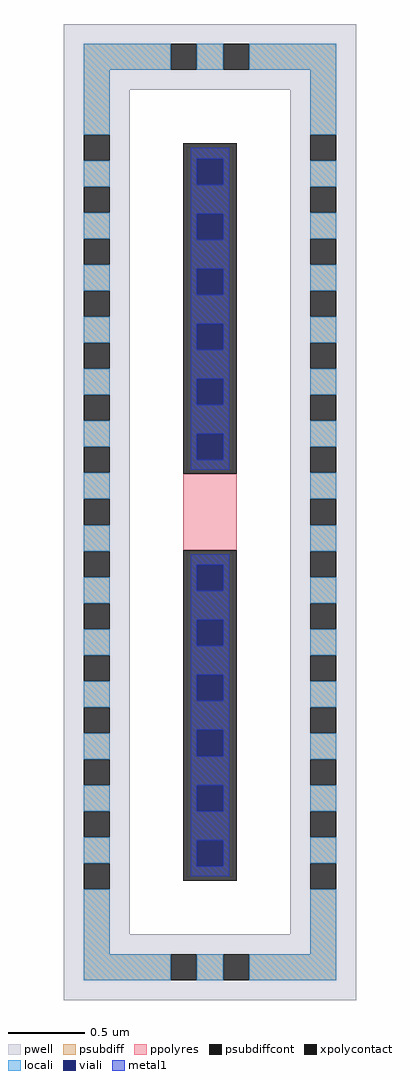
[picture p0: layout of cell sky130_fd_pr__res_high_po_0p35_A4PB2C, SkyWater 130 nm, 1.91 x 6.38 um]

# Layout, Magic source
magic
tech sky130A
magscale 1 2
<< pwell >>
rect -191 552 191 638
rect -191 -552 -105 552
rect 105 -552 191 552
rect -191 -638 191 -552
<< psubdiff >>
rect -165 578 -51 612
rect -17 578 17 612
rect 51 578 165 612
rect -165 493 -131 578
rect 131 493 165 578
rect -165 425 -131 459
rect -165 357 -131 391
rect -165 289 -131 323
rect -165 221 -131 255
rect -165 153 -131 187
rect -165 85 -131 119
rect -165 17 -131 51
rect -165 -51 -131 -17
rect -165 -119 -131 -85
rect -165 -187 -131 -153
rect -165 -255 -131 -221
rect -165 -323 -131 -289
rect -165 -391 -131 -357
rect -165 -459 -131 -425
rect 131 425 165 459
rect 131 357 165 391
rect 131 289 165 323
rect 131 221 165 255
rect 131 153 165 187
rect 131 85 165 119
rect 131 17 165 51
rect 131 -51 165 -17
rect 131 -119 165 -85
rect 131 -187 165 -153
rect 131 -255 165 -221
rect 131 -323 165 -289
rect 131 -391 165 -357
rect 131 -459 165 -425
rect -165 -578 -131 -493
rect 131 -578 165 -493
rect -165 -612 -51 -578
rect -17 -612 17 -578
rect 51 -612 165 -578
<< psubdiffcont >>
rect -51 578 -17 612
rect 17 578 51 612
rect -165 459 -131 493
rect -165 391 -131 425
rect -165 323 -131 357
rect -165 255 -131 289
rect -165 187 -131 221
rect -165 119 -131 153
rect -165 51 -131 85
rect -165 -17 -131 17
rect -165 -85 -131 -51
rect -165 -153 -131 -119
rect -165 -221 -131 -187
rect -165 -289 -131 -255
rect -165 -357 -131 -323
rect -165 -425 -131 -391
rect -165 -493 -131 -459
rect 131 459 165 493
rect 131 391 165 425
rect 131 323 165 357
rect 131 255 165 289
rect 131 187 165 221
rect 131 119 165 153
rect 131 51 165 85
rect 131 -17 165 17
rect 131 -85 165 -51
rect 131 -153 165 -119
rect 131 -221 165 -187
rect 131 -289 165 -255
rect 131 -357 165 -323
rect 131 -425 165 -391
rect 131 -493 165 -459
rect -51 -612 -17 -578
rect 17 -612 51 -578
<< xpolycontact >>
rect -35 50 35 482
rect -35 -482 35 -50
<< ppolyres >>
rect -35 -50 35 50
<< locali >>
rect -165 578 -51 612
rect -17 578 17 612
rect 51 578 165 612
rect -165 493 -131 578
rect 131 493 165 578
rect -165 425 -131 459
rect -165 357 -131 391
rect -165 289 -131 323
rect -165 221 -131 255
rect -165 153 -131 187
rect -165 85 -131 119
rect -165 17 -131 51
rect 131 425 165 459
rect 131 357 165 391
rect 131 289 165 323
rect 131 221 165 255
rect 131 153 165 187
rect 131 85 165 119
rect -165 -51 -131 -17
rect 131 17 165 51
rect -165 -119 -131 -85
rect -165 -187 -131 -153
rect -165 -255 -131 -221
rect -165 -323 -131 -289
rect -165 -391 -131 -357
rect -165 -459 -131 -425
rect 131 -51 165 -17
rect 131 -119 165 -85
rect 131 -187 165 -153
rect 131 -255 165 -221
rect 131 -323 165 -289
rect 131 -391 165 -357
rect 131 -459 165 -425
rect -165 -578 -131 -493
rect 131 -578 165 -493
rect -165 -612 -51 -578
rect -17 -612 17 -578
rect 51 -612 165 -578
<< viali >>
rect -17 428 17 462
rect -17 356 17 390
rect -17 284 17 318
rect -17 212 17 246
rect -17 140 17 174
rect -17 68 17 102
rect -17 -103 17 -69
rect -17 -175 17 -141
rect -17 -247 17 -213
rect -17 -319 17 -285
rect -17 -391 17 -357
rect -17 -463 17 -429
<< metal1 >>
rect -25 462 25 476
rect -25 428 -17 462
rect 17 428 25 462
rect -25 390 25 428
rect -25 356 -17 390
rect 17 356 25 390
rect -25 318 25 356
rect -25 284 -17 318
rect 17 284 25 318
rect -25 246 25 284
rect -25 212 -17 246
rect 17 212 25 246
rect -25 174 25 212
rect -25 140 -17 174
rect 17 140 25 174
rect -25 102 25 140
rect -25 68 -17 102
rect 17 68 25 102
rect -25 55 25 68
rect -25 -69 25 -55
rect -25 -103 -17 -69
rect 17 -103 25 -69
rect -25 -141 25 -103
rect -25 -175 -17 -141
rect 17 -175 25 -141
rect -25 -213 25 -175
rect -25 -247 -17 -213
rect 17 -247 25 -213
rect -25 -285 25 -247
rect -25 -319 -17 -285
rect 17 -319 25 -285
rect -25 -357 25 -319
rect -25 -391 -17 -357
rect 17 -391 25 -357
rect -25 -429 25 -391
rect -25 -463 -17 -429
rect 17 -463 25 -429
rect -25 -476 25 -463
<< properties >>
string FIXED_BBOX -148 -595 148 595
<< end >>
